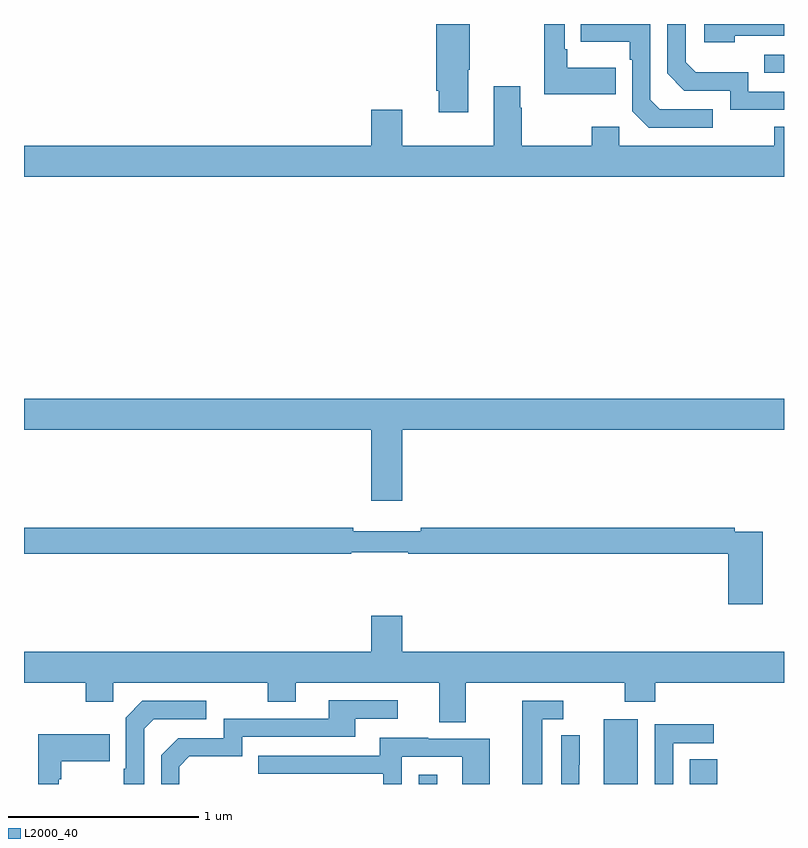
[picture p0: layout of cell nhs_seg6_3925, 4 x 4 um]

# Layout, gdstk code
import gdstk
lib = gdstk.Library(unit=1e-6, precision=1e-09)
def R(c, l, rs):  # rectangles x0, y0, x1, y1
    for r in rs: c.add(gdstk.rectangle(r[:2], r[2:], *l))
def P(c, l, *ps):  # polygons
    for p in ps: c.add(gdstk.Polygon(p, *l))
L2000_40 = (2000, 40)

nhs_seg6_3925 = lib.new_cell('nhs_seg6_3925')
R(nhs_seg6_3925, L2000_40, [(345.078,917.5,345.175,917.548), (346.052,917.5,346.231,917.842), (346.505,917.5,346.649,917.63), (346.897,921.243,347,921.339)])
P(nhs_seg6_3925, L2000_40, [(346.115,921.271),(345.859,921.271),(345.859,921.367),(345.846,921.367),(345.846,921.5),(345.738,921.5),(345.738,921.131),(346.115,921.131)],
  [(345.337,921.259),(345.345,921.259),(345.345,921.5),(345.17,921.5),(345.17,921.148),(345.182,921.148),(345.182,921.036),(345.337,921.036)],
  [(347,921.144),(346.812,921.144),(346.812,921.247),(346.535,921.247),(346.482,921.3),(346.482,921.5),(346.386,921.5),(346.386,921.24),(346.476,921.15),(346.716,921.15),(346.716,921.048),(347,921.048)],
  [(346.742,921.438),(347,921.438),(347,921.5),(346.581,921.5),(346.581,921.404),(346.742,921.404)],
  [(346.624,921.051),(346.347,921.051),(346.296,921.102),(346.296,921.5),(345.931,921.5),(345.931,921.407),(346.188,921.407),(346.188,921.311),(346.2,921.311),(346.2,921.042),(346.287,920.955),(346.624,920.955)],
  [(345.988,920.959),(345.988,920.86),(345.621,920.86),(345.621,921.059),(345.613,921.059),(345.613,921.172),(345.473,921.172),(345.473,920.86),(344.992,920.86),(344.992,921.049),(344.828,921.049),(344.828,920.86),(343,920.86),(343,920.696),(347,920.696),(347,920.959),(346.948,920.959),(346.948,920.86),(346.134,920.86),(346.134,920.959)],
  [(344.992,919.364),(347,919.364),(347,919.528),(343,919.528),(343,919.364),(344.828,919.364),(344.828,918.99),(344.992,918.99)],
  [(346.889,918.828),(346.742,918.828),(346.742,918.848),(345.088,918.848),(345.088,918.829),(344.732,918.829),(344.732,918.848),(343,918.848),(343,918.712),(344.722,918.712),(344.722,918.72),(345.022,918.72),(345.022,918.712),(346.706,918.712),(346.706,918.447),(346.889,918.447)],
  [(345.325,918.032),(346.162,918.032),(346.162,917.933),(346.322,917.933),(346.322,918.032),(347,918.032),(347,918.196),(344.992,918.196),(344.992,918.385),(344.828,918.385),(344.828,918.196),(343,918.196),(343,918.032),(343.324,918.032),(343.324,917.933),(343.47,917.933),(343.47,918.032),(344.284,918.032),(344.284,917.933),(344.431,917.933),(344.431,918.032),(345.185,918.032),(345.185,917.824),(345.325,917.824)],
  [(343.818,917.592),(343.871,917.645),(344.148,917.645),(344.148,917.748),(344.743,917.748),(344.743,917.844),(344.968,917.844),(344.968,917.94),(344.603,917.94),(344.603,917.844),(344.052,917.844),(344.052,917.742),(343.812,917.742),(343.722,917.652),(343.722,917.5),(343.818,917.5)],
  [(343.632,917.79),(343.683,917.841),(343.96,917.841),(343.96,917.937),(343.623,917.937),(343.536,917.85),(343.536,917.581),(343.524,917.581),(343.524,917.5),(343.632,917.5)],
  [(345.727,917.841),(345.838,917.841),(345.838,917.937),(345.623,917.937),(345.623,917.5),(345.727,917.5)],
  [(346.416,917.715),(346.63,917.715),(346.63,917.814),(346.32,917.814),(346.32,917.5),(346.416,917.5)],
  [(343.182,917.525),(343.195,917.525),(343.195,917.621),(343.451,917.621),(343.451,917.761),(343.074,917.761),(343.074,917.5),(343.182,917.5)],
  [(345.923,917.602),(345.924,917.602),(345.924,917.756),(345.828,917.756),(345.828,917.5),(345.923,917.5)],
  [(344.988,917.643),(345.306,917.643),(345.306,917.5),(345.451,917.5),(345.451,917.739),(345.127,917.739),(345.127,917.743),(344.873,917.743),(344.873,917.649),(344.233,917.649),(344.233,917.553),(344.892,917.553),(344.892,917.5),(344.988,917.5)])

lib.write_gds('nhs_seg6_3925.gds')
